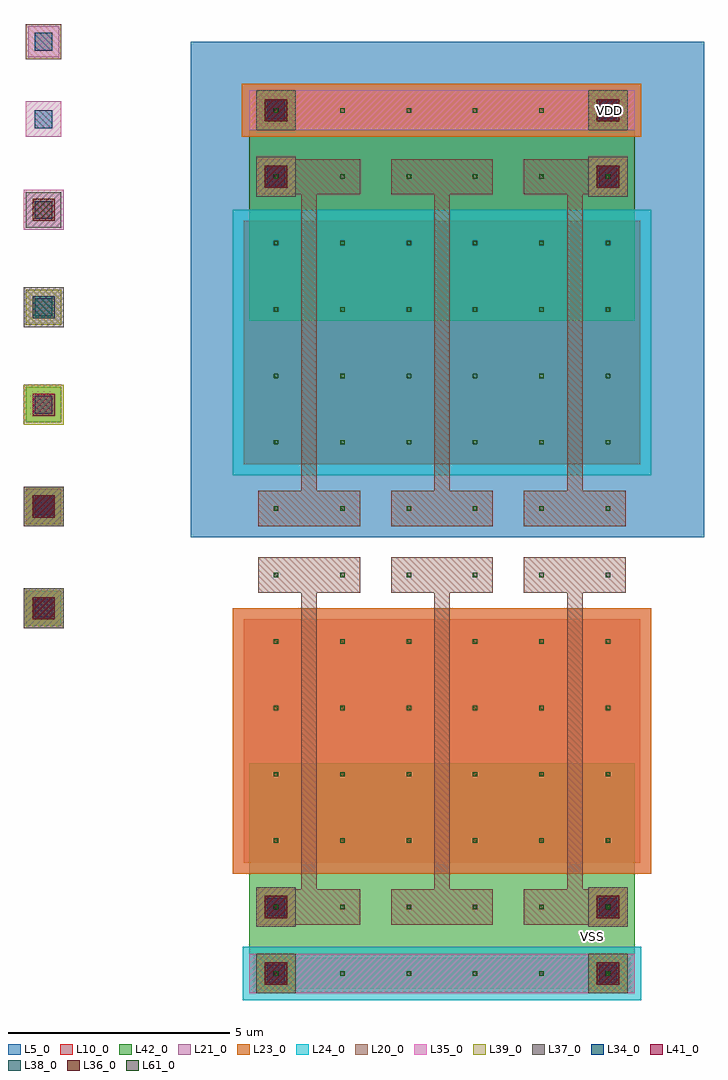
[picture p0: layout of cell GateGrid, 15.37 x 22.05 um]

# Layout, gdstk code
import gdstk
lib = gdstk.Library(unit=1e-6, precision=1e-09)
def R(c, l, rs):  # rectangles x0, y0, x1, y1
    for r in rs: c.add(gdstk.rectangle(r[:2], r[2:], *l))
def A(c, l, x, y, w, h, nx, ny, dx, dy):  # array of equal rectangles
    R(c, l, [(x+i*dx, y+j*dy, x+i*dx+w, y+j*dy+h) for i in range(nx) for j in range(ny)])
def P(c, l, *ps):  # polygons
    for p in ps: c.add(gdstk.Polygon(p, *l))
L5_0 = (5, 0)
L10_0 = (10, 0)
L20_0 = (20, 0)
L21_0 = (21, 0)
L23_0 = (23, 0)
L24_0 = (24, 0)
L34_0 = (34, 0)
L35_0 = (35, 0)
L36_0 = (36, 0)
L37_0 = (37, 0)
L38_0 = (38, 0)
L39_0 = (39, 0)
L41_0 = (41, 0)
L42_0 = (42, 0)
L61_0 = (61, 0)

gategrid = lib.new_cell('GateGrid')
R(gategrid, L5_0, [(-26.925,-7.3,-22.4,3.9), (-22.4,-7.3,-19.4,3.9), (-19.4,-7.3,-15.325,3.9)])
R(gategrid, L10_0, [(-25.5,-17.5,-22.4,-16.8), (-22.4,-17.5,-19.4,-16.8), (-19.4,-17.5,-17,-16.8), (-25.725,-14.65,-22.4,-9.15), (-22.4,-14.65,-19.4,-9.15), (-19.4,-14.65,-16.775,-9.15), (-25.725,-5.65,-22.4,-0.15), (-22.4,-5.65,-19.4,-0.15), (-19.4,-5.65,-16.775,-0.15), (-25.525,2,-22.4,2.7), (-22.4,2,-19.4,2.7), (-19.4,2,-17,2.7)])
R(gategrid, L20_0, [(-25.4,-16.05,-24.6,-15.25), (-17.9,-16.05,-17.1,-15.25), (-30.65,-7,-29.85,-6.2), (-25.4,0.45,-24.6,1.25), (-17.9,0.45,-17.1,1.25), (-30.65,3.5,-29.85,4.3)])
P(gategrid, L20_0, [(-22.4,-16.05),(-20.1,-16.05),(-20.1,-15.25),(-21.075,-15.25),(-21.075,-8.55),(-20.1,-8.55),(-20.1,-7.75),(-22.4,-7.75),(-22.4,-8.55),(-21.425,-8.55),(-21.425,-15.25),(-22.4,-15.25)],
  [(-25.4,-16.05),(-23.1,-16.05),(-23.1,-15.25),(-24.075,-15.25),(-24.075,-8.55),(-23.1,-8.55),(-23.1,-7.75),(-25.4,-7.75),(-25.4,-8.55),(-24.425,-8.55),(-24.425,-15.25),(-25.4,-15.25)],
  [(-19.4,-16.05),(-17.1,-16.05),(-17.1,-15.25),(-18.075,-15.25),(-18.075,-8.55),(-17.1,-8.55),(-17.1,-7.75),(-19.4,-7.75),(-19.4,-8.55),(-18.425,-8.55),(-18.425,-15.25),(-19.4,-15.25)],
  [(-22.4,-7.05),(-20.1,-7.05),(-20.1,-6.25),(-21.075,-6.25),(-21.075,0.45),(-20.1,0.45),(-20.1,1.25),(-22.4,1.25),(-22.4,0.45),(-21.425,0.45),(-21.425,-6.25),(-22.4,-6.25)],
  [(-25.4,-7.05),(-23.1,-7.05),(-23.1,-6.25),(-24.075,-6.25),(-24.075,0.45),(-23.1,0.45),(-23.1,1.25),(-25.4,1.25),(-25.4,0.45),(-24.425,0.45),(-24.425,-6.25),(-25.4,-6.25)],
  [(-19.4,-7.05),(-17.1,-7.05),(-17.1,-6.25),(-18.075,-6.25),(-18.075,0.45),(-17.1,0.45),(-17.1,1.25),(-19.4,1.25),(-19.4,0.45),(-18.425,0.45),(-18.425,-6.25),(-19.4,-6.25)])
R(gategrid, L21_0, [(-25.975,-14.9,-22.4,-8.9), (-22.4,-14.9,-19.4,-8.9), (-19.4,-14.9,-16.525,-8.9), (-25.775,1.75,-22.4,2.95), (-22.4,1.75,-19.4,2.95), (-19.4,1.75,-16.75,2.95)])
R(gategrid, L23_0, [(-25.975,-14.9,-22.4,-8.9), (-22.4,-14.9,-19.4,-8.9), (-19.4,-14.9,-16.525,-8.9), (-25.775,1.75,-22.4,2.95), (-22.4,1.75,-19.4,2.95), (-19.4,1.75,-16.75,2.95)])
R(gategrid, L24_0, [(-25.75,-17.75,-22.4,-16.55), (-22.4,-17.75,-19.4,-16.55), (-19.4,-17.75,-16.75,-16.55), (-25.975,-5.9,-22.4,0.1), (-22.4,-5.9,-19.4,0.1), (-19.4,-5.9,-16.525,0.1)])
A(gategrid, L34_0, -30.45, -4.5, 0.4, 0.4, 1, 3, 0, 2.2)
R(gategrid, L34_0, [(-25.2,-17.35,-24.8,-16.95), (-25.2,-17.35,-24.8,-16.95), (-25.2,-17.35,-24.8,-16.95), (-25.2,-17.35,-24.8,-16.95), (-17.7,-17.35,-17.3,-16.95), (-17.7,-17.35,-17.3,-16.95), (-17.7,-17.35,-17.3,-16.95), (-17.7,-17.35,-17.3,-16.95), (-25.2,-15.85,-24.8,-15.45), (-25.2,-15.85,-24.8,-15.45), (-25.2,-15.85,-24.8,-15.45), (-25.2,-15.85,-24.8,-15.45), (-25.2,-15.85,-24.8,-15.45), (-25.2,-15.85,-24.8,-15.45), (-17.7,-15.85,-17.3,-15.45), (-17.7,-15.85,-17.3,-15.45), (-17.7,-15.85,-17.3,-15.45), (-17.7,-15.85,-17.3,-15.45), (-17.7,-15.85,-17.3,-15.45), (-17.7,-15.85,-17.3,-15.45), (-30.45,-9.1,-30.05,-8.7), (-30.45,-9.1,-30.05,-8.7), (-30.45,-9.1,-30.05,-8.7), (-30.45,-9.1,-30.05,-8.7), (-30.45,-6.8,-30.05,-6.4), (-30.45,-6.8,-30.05,-6.4), (-30.45,-6.8,-30.05,-6.4), (-30.45,-6.8,-30.05,-6.4), (-30.45,-6.8,-30.05,-6.4), (-30.45,-6.8,-30.05,-6.4), (-25.2,0.65,-24.8,1.05), (-25.2,0.65,-24.8,1.05), (-25.2,0.65,-24.8,1.05), (-25.2,0.65,-24.8,1.05), (-25.2,0.65,-24.8,1.05), (-25.2,0.65,-24.8,1.05), (-17.7,0.65,-17.3,1.05), (-17.7,0.65,-17.3,1.05), (-17.7,0.65,-17.3,1.05), (-17.7,0.65,-17.3,1.05), (-17.7,0.65,-17.3,1.05), (-17.7,0.65,-17.3,1.05), (-30.45,1.95,-30.05,2.35), (-25.2,2.15,-24.8,2.55), (-25.2,2.15,-24.8,2.55), (-25.2,2.15,-24.8,2.55), (-25.2,2.15,-24.8,2.55), (-17.7,2.15,-17.3,2.55), (-17.7,2.15,-17.3,2.55), (-17.7,2.15,-17.3,2.55), (-17.7,2.15,-17.3,2.55), (-30.45,3.7,-30.05,4.1), (-30.45,3.7,-30.05,4.1)])
R(gategrid, L35_0, [(-25.6,-17.6,-22.4,-16.7), (-25.45,-17.6,-24.55,-16.7), (-22.4,-17.6,-19.4,-16.7), (-19.4,-17.6,-16.9,-16.7), (-17.95,-17.6,-17.05,-16.7), (-25.4,-17.55,-24.6,-16.75), (-17.9,-17.55,-17.1,-16.75), (-25.45,-16.1,-24.55,-15.2), (-17.95,-16.1,-17.05,-15.2), (-25.4,-16.05,-24.6,-15.25), (-17.9,-16.05,-17.1,-15.25), (-25.35,-16,-24.65,-15.3), (-17.85,-16,-17.15,-15.3), (-30.7,-9.35,-29.8,-8.45), (-30.65,-9.3,-29.85,-8.5), (-30.7,-7.05,-29.8,-6.15), (-30.65,-7,-29.85,-6.2), (-30.6,-6.95,-29.9,-6.25), (-30.7,-0.35,-29.8,0.55), (-25.45,0.4,-24.55,1.3), (-17.95,0.4,-17.05,1.3), (-25.4,0.45,-24.6,1.25), (-17.9,0.45,-17.1,1.25), (-25.35,0.5,-24.65,1.2), (-17.85,0.5,-17.15,1.2), (-30.65,1.75,-29.85,2.55), (-25.6,1.9,-22.4,2.8), (-25.45,1.9,-24.55,2.8), (-22.4,1.9,-19.4,2.8), (-19.4,1.9,-16.9,2.8), (-17.95,1.9,-17.05,2.8), (-25.4,1.95,-24.6,2.75), (-17.9,1.95,-17.1,2.75), (-30.6,3.55,-29.9,4.25)])
R(gategrid, L36_0, [(-25.25,-17.4,-24.75,-16.9), (-17.75,-17.4,-17.25,-16.9), (-25.25,-15.9,-24.75,-15.4), (-17.75,-15.9,-17.25,-15.4), (-30.5,-9.15,-30,-8.65), (-30.5,-6.85,-30,-6.35), (-30.5,-0.15,-30,0.35), (-25.25,0.6,-24.75,1.1), (-17.75,0.6,-17.25,1.1), (-25.25,2.1,-24.75,2.6), (-17.75,2.1,-17.25,2.6)])
R(gategrid, L37_0, [(-25.45,-17.6,-24.55,-16.7), (-17.95,-17.6,-17.05,-16.7), (-25.4,-17.55,-24.6,-16.75), (-17.9,-17.55,-17.1,-16.75), (-25.45,-16.1,-24.55,-15.2), (-17.95,-16.1,-17.05,-15.2), (-25.4,-16.05,-24.6,-15.25), (-17.9,-16.05,-17.1,-15.25), (-30.7,-9.35,-29.8,-8.45), (-30.65,-9.3,-29.85,-8.5), (-30.7,-7.05,-29.8,-6.15), (-30.65,-7,-29.85,-6.2), (-30.7,-2.55,-29.8,-1.65), (-30.65,-0.3,-29.85,0.5), (-25.45,0.4,-24.55,1.3), (-17.95,0.4,-17.05,1.3), (-25.4,0.45,-24.6,1.25), (-17.9,0.45,-17.1,1.25), (-25.45,1.9,-24.55,2.8), (-17.95,1.9,-17.05,2.8), (-25.4,1.95,-24.6,2.75), (-17.9,1.95,-17.1,2.75)])
R(gategrid, L38_0, [(-25.25,-17.4,-24.75,-16.9), (-17.75,-17.4,-17.25,-16.9), (-25.25,-15.9,-24.75,-15.4), (-17.75,-15.9,-17.25,-15.4), (-30.5,-9.15,-30,-8.65), (-30.5,-6.85,-30,-6.35), (-30.5,-2.35,-30,-1.85), (-25.25,0.6,-24.75,1.1), (-17.75,0.6,-17.25,1.1), (-25.25,2.1,-24.75,2.6), (-17.75,2.1,-17.25,2.6)])
A(gategrid, L39_0, -30.7, -9.35, 0.9, 0.9, 1, 3, 0, 2.3)
R(gategrid, L39_0, [(-25.45,-17.6,-24.55,-16.7), (-17.95,-17.6,-17.05,-16.7), (-25.4,-17.55,-24.6,-16.75), (-17.9,-17.55,-17.1,-16.75), (-25.45,-16.1,-24.55,-15.2), (-17.95,-16.1,-17.05,-15.2), (-25.4,-16.05,-24.6,-15.25), (-17.9,-16.05,-17.1,-15.25), (-30.65,-9.3,-29.85,-8.5), (-30.65,-7,-29.85,-6.2), (-30.65,-2.5,-29.85,-1.7), (-25.45,0.4,-24.55,1.3), (-17.95,0.4,-17.05,1.3), (-25.4,0.45,-24.6,1.25), (-17.9,0.45,-17.1,1.25), (-25.45,1.9,-24.55,2.8), (-17.95,1.9,-17.05,2.8), (-25.4,1.95,-24.6,2.75), (-17.9,1.95,-17.1,2.75)])
A(gategrid, L41_0, -30.5, -9.15, 0.5, 0.5, 1, 3, 0, 2.3)
R(gategrid, L41_0, [(-25.25,-17.4,-24.75,-16.9), (-17.75,-17.4,-17.25,-16.9), (-25.25,-15.9,-24.75,-15.4), (-17.75,-15.9,-17.25,-15.4), (-25.25,0.6,-24.75,1.1), (-17.75,0.6,-17.25,1.1), (-25.25,2.1,-24.75,2.6), (-17.75,2.1,-17.25,2.6)])
A(gategrid, L42_0, -30.65, -9.3, 0.8, 0.8, 1, 3, 0, 2.3)
R(gategrid, L42_0, [(-25.6,-17.6,-22.4,-12.4), (-22.4,-17.6,-19.4,-12.4), (-19.4,-17.6,-16.9,-12.4), (-25.4,-17.55,-24.6,-16.75), (-17.9,-17.55,-17.1,-16.75), (-25.4,-16.05,-24.6,-15.25), (-17.9,-16.05,-17.1,-15.25), (-25.6,-2.4,-22.4,2.8), (-22.4,-2.4,-19.4,2.8), (-19.4,-2.4,-16.9,2.8), (-25.4,0.45,-24.6,1.25), (-17.9,0.45,-17.1,1.25), (-25.4,1.95,-24.6,2.75), (-17.9,1.95,-17.1,2.75)])
A(gategrid, L61_0, -20.55, -17.2, 0.1, 0.1, 1, 6, 0, 1.5)
A(gategrid, L61_0, -20.55, -17.2, 0.1, 0.1, 3, 5, 1.5, 1.5)
A(gategrid, L61_0, -20.55, -5.2, 0.1, 0.1, 1, 6, 0, 1.5)
A(gategrid, L61_0, -20.55, -5.2, 0.1, 0.1, 3, 6, 1.5, 1.5)
R(gategrid, L61_0, [(-25.05,-17.2,-24.95,-17.1), (-25.05,-17.2,-24.95,-17.1), (-23.55,-17.2,-23.45,-17.1), (-23.55,-17.2,-23.45,-17.1), (-22.05,-17.2,-21.95,-17.1), (-22.05,-17.2,-21.95,-17.1), (-25.05,-15.7,-24.95,-15.6), (-25.05,-15.7,-24.95,-15.6), (-23.55,-15.7,-23.45,-15.6), (-23.55,-15.7,-23.45,-15.6), (-22.05,-15.7,-21.95,-15.6), (-22.05,-15.7,-21.95,-15.6), (-25.05,-14.2,-24.95,-14.1), (-25.05,-14.2,-24.95,-14.1), (-23.55,-14.2,-23.45,-14.1), (-23.55,-14.2,-23.45,-14.1), (-22.05,-14.2,-21.95,-14.1), (-22.05,-14.2,-21.95,-14.1), (-25.05,-12.7,-24.95,-12.6), (-25.05,-12.7,-24.95,-12.6), (-23.55,-12.7,-23.45,-12.6), (-23.55,-12.7,-23.45,-12.6), (-22.05,-12.7,-21.95,-12.6), (-22.05,-12.7,-21.95,-12.6), (-25.05,-11.2,-24.95,-11.1), (-25.05,-11.2,-24.95,-11.1), (-23.55,-11.2,-23.45,-11.1), (-23.55,-11.2,-23.45,-11.1), (-22.05,-11.2,-21.95,-11.1), (-22.05,-11.2,-21.95,-11.1), (-25.05,-9.7,-24.95,-9.6), (-25.05,-9.7,-24.95,-9.6), (-25.05,-9.7,-24.95,-9.6), (-23.55,-9.7,-23.45,-9.6), (-23.55,-9.7,-23.45,-9.6), (-23.55,-9.7,-23.45,-9.6), (-22.05,-9.7,-21.95,-9.6), (-22.05,-9.7,-21.95,-9.6), (-22.05,-9.7,-21.95,-9.6), (-20.55,-9.7,-20.45,-9.6), (-20.55,-9.7,-20.45,-9.6), (-19.05,-9.7,-18.95,-9.6), (-19.05,-9.7,-18.95,-9.6), (-17.55,-9.7,-17.45,-9.6), (-17.55,-9.7,-17.45,-9.6), (-25.05,-8.2,-24.95,-8.1), (-25.05,-8.2,-24.95,-8.1), (-25.05,-8.2,-24.95,-8.1), (-23.55,-8.2,-23.45,-8.1), (-23.55,-8.2,-23.45,-8.1), (-23.55,-8.2,-23.45,-8.1), (-22.05,-8.2,-21.95,-8.1), (-22.05,-8.2,-21.95,-8.1), (-22.05,-8.2,-21.95,-8.1), (-20.55,-8.2,-20.45,-8.1), (-20.55,-8.2,-20.45,-8.1), (-20.55,-8.2,-20.45,-8.1), (-19.05,-8.2,-18.95,-8.1), (-19.05,-8.2,-18.95,-8.1), (-17.55,-8.2,-17.45,-8.1), (-17.55,-8.2,-17.45,-8.1), (-25.05,-6.7,-24.95,-6.6), (-25.05,-6.7,-24.95,-6.6), (-25.05,-6.7,-24.95,-6.6), (-23.55,-6.7,-23.45,-6.6), (-23.55,-6.7,-23.45,-6.6), (-23.55,-6.7,-23.45,-6.6), (-22.05,-6.7,-21.95,-6.6), (-22.05,-6.7,-21.95,-6.6), (-22.05,-6.7,-21.95,-6.6), (-20.55,-6.7,-20.45,-6.6), (-20.55,-6.7,-20.45,-6.6), (-20.55,-6.7,-20.45,-6.6), (-19.05,-6.7,-18.95,-6.6), (-19.05,-6.7,-18.95,-6.6), (-17.55,-6.7,-17.45,-6.6), (-17.55,-6.7,-17.45,-6.6), (-25.05,-5.2,-24.95,-5.1), (-25.05,-5.2,-24.95,-5.1), (-25.05,-5.2,-24.95,-5.1), (-23.55,-5.2,-23.45,-5.1), (-23.55,-5.2,-23.45,-5.1), (-23.55,-5.2,-23.45,-5.1), (-22.05,-5.2,-21.95,-5.1), (-22.05,-5.2,-21.95,-5.1), (-22.05,-5.2,-21.95,-5.1), (-20.55,-5.2,-20.45,-5.1), (-25.05,-3.7,-24.95,-3.6), (-25.05,-3.7,-24.95,-3.6), (-23.55,-3.7,-23.45,-3.6), (-23.55,-3.7,-23.45,-3.6), (-22.05,-3.7,-21.95,-3.6), (-22.05,-3.7,-21.95,-3.6), (-25.05,-2.2,-24.95,-2.1), (-25.05,-2.2,-24.95,-2.1), (-23.55,-2.2,-23.45,-2.1), (-23.55,-2.2,-23.45,-2.1), (-22.05,-2.2,-21.95,-2.1), (-22.05,-2.2,-21.95,-2.1), (-25.05,-0.7,-24.95,-0.6), (-25.05,-0.7,-24.95,-0.6), (-23.55,-0.7,-23.45,-0.6), (-23.55,-0.7,-23.45,-0.6), (-22.05,-0.7,-21.95,-0.6), (-22.05,-0.7,-21.95,-0.6), (-25.05,0.8,-24.95,0.9), (-25.05,0.8,-24.95,0.9), (-23.55,0.8,-23.45,0.9), (-23.55,0.8,-23.45,0.9), (-22.05,0.8,-21.95,0.9), (-22.05,0.8,-21.95,0.9), (-25.05,2.3,-24.95,2.4), (-25.05,2.3,-24.95,2.4), (-23.55,2.3,-23.45,2.4), (-23.55,2.3,-23.45,2.4), (-22.05,2.3,-21.95,2.4), (-22.05,2.3,-21.95,2.4)])
gategrid.add(gdstk.Label('contato met1-met2', (-33.15,0.2), layer=61, texttype=0))
gategrid.add(gdstk.Label('contato diff-met1', (-33.25,2.25), layer=61, texttype=0))
gategrid.add(gdstk.Label('contato met3-met4', (-33.25,-4.35), layer=61, texttype=0))
gategrid.add(gdstk.Label('contato poly-met1', (-33.15,4), layer=61, texttype=0))
gategrid.add(gdstk.Label('contato gate-met4-isolamento', (-33.35,-6.45), layer=61, texttype=0))
gategrid.add(gdstk.Label('contato met2-met3', (-33.15,-2), layer=61, texttype=0))
gategrid.add(gdstk.Label('contato bulk-met4-isolamento', (-33.3,-8.75), layer=61, texttype=0))
gategrid.add(gdstk.Label('VSS', (-17.85,-16.325), layer=605, texttype=0))
gategrid.add(gdstk.Label('VDD', (-17.475,2.35), layer=605, texttype=0))

lib.write_gds('GateGrid.gds')
